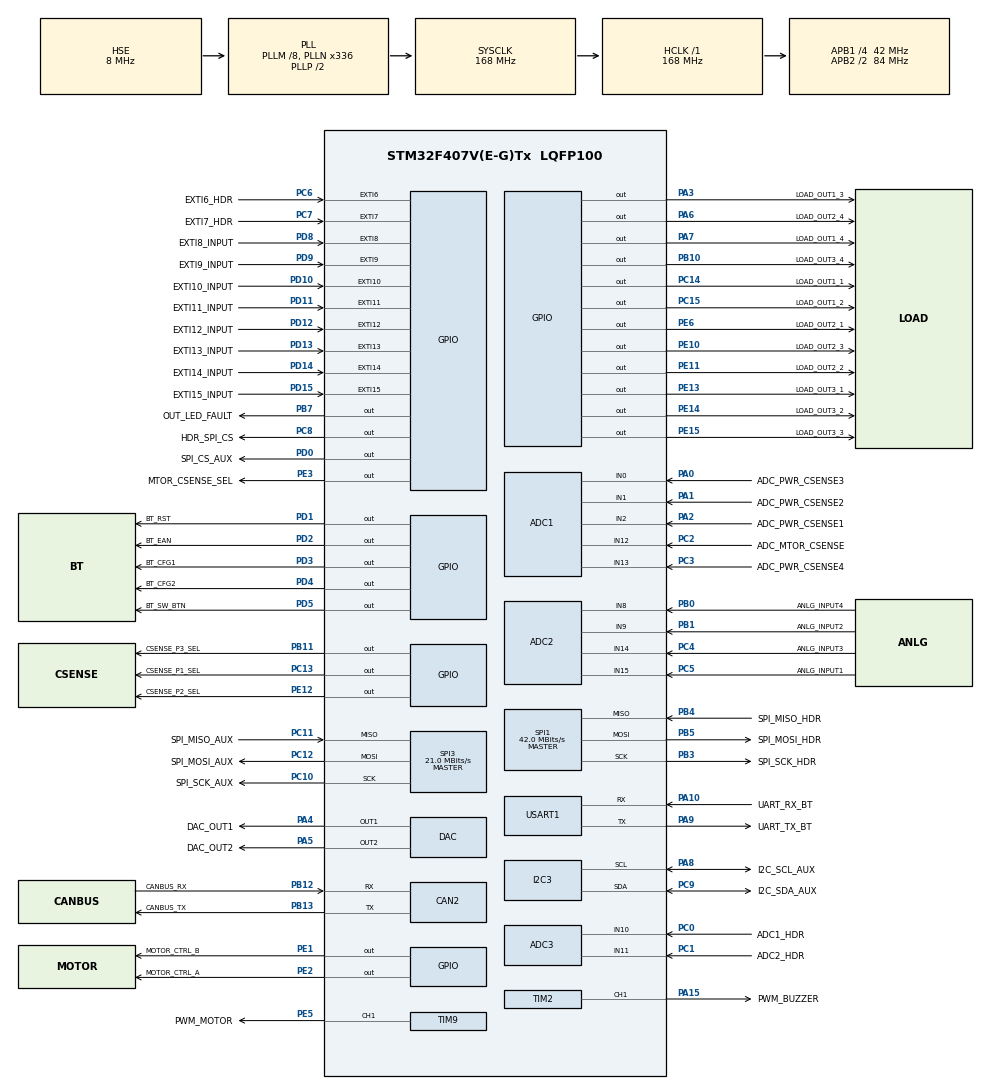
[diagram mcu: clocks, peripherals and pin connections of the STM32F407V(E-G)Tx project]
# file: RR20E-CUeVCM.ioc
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ADC1.Channel-0\#ChannelRegularConversion=ADC_CHANNEL_2
ADC1.Channel-1\#ChannelRegularConversion=ADC_CHANNEL_1
ADC1.Channel-2\#ChannelRegularConversion=ADC_CHANNEL_0
ADC1.Channel-3\#ChannelRegularConversion=ADC_CHANNEL_13
ADC1.Channel-4\#ChannelRegularConversion=ADC_CHANNEL_12
ADC1.ClockPrescaler=ADC_CLOCK_SYNC_PCLK_DIV6
ADC1.ContinuousConvMode=DISABLE
ADC1.DMAContinuousRequests=ENABLE
ADC1.DiscontinuousConvMode=DISABLE
ADC1.EOCSelection=ADC_EOC_SEQ_CONV
ADC1.NbrOfConversion=5
ADC1.NbrOfConversionFlag=1
ADC1.Rank-0\#ChannelRegularConversion=1
ADC1.Rank-1\#ChannelRegularConversion=2
ADC1.Rank-2\#ChannelRegularConversion=3
ADC1.Rank-3\#ChannelRegularConversion=4
ADC1.Rank-4\#ChannelRegularConversion=5
ADC1.SamplingTime-0\#ChannelRegularConversion=ADC_SAMPLETIME_480CYCLES
ADC1.SamplingTime-1\#ChannelRegularConversion=ADC_SAMPLETIME_480CYCLES
ADC1.SamplingTime-2\#ChannelRegularConversion=ADC_SAMPLETIME_480CYCLES
ADC1.SamplingTime-3\#ChannelRegularConversion=ADC_SAMPLETIME_480CYCLES
ADC1.SamplingTime-4\#ChannelRegularConversion=ADC_SAMPLETIME_480CYCLES
ADC1.master=1
ADC2.Channel-1\#ChannelRegularConversion=ADC_CHANNEL_15
ADC2.Channel-2\#ChannelRegularConversion=ADC_CHANNEL_9
ADC2.Channel-3\#ChannelRegularConversion=ADC_CHANNEL_14
ADC2.Channel-4\#ChannelRegularConversion=ADC_CHANNEL_8
ADC2.ClockPrescaler=ADC_CLOCK_SYNC_PCLK_DIV6
ADC2.ContinuousConvMode=ENABLE
ADC2.DMAContinuousRequests=ENABLE
ADC2.EOCSelection=ADC_EOC_SEQ_CONV
ADC2.NbrOfConversion=4
ADC2.NbrOfConversionFlag=1
ADC2.Rank-1\#ChannelRegularConversion=1
ADC2.Rank-2\#ChannelRegularConversion=2
ADC2.Rank-3\#ChannelRegularConversion=3
ADC2.Rank-4\#ChannelRegularConversion=4
ADC2.SamplingTime-1\#ChannelRegularConversion=ADC_SAMPLETIME_480CYCLES
ADC2.SamplingTime-2\#ChannelRegularConversion=ADC_SAMPLETIME_480CYCLES
ADC2.SamplingTime-3\#ChannelRegularConversion=ADC_SAMPLETIME_480CYCLES
ADC2.SamplingTime-4\#ChannelRegularConversion=ADC_SAMPLETIME_480CYCLES
ADC3.Channel-3\#ChannelRegularConversion=ADC_CHANNEL_10
ADC3.ClockPrescaler=ADC_CLOCK_SYNC_PCLK_DIV6
ADC3.NbrOfConversionFlag=1
ADC3.Rank-3\#ChannelRegularConversion=1
ADC3.SamplingTime-3\#ChannelRegularConversion=ADC_SAMPLETIME_3CYCLES
CAN2.BS1=CAN_BS1_1TQ
CAN2.BS2=CAN_BS2_1TQ
CAN2.CalculateTimeQuantum=380.95238095238096
Dma.ADC1.1.Direction=DMA_PERIPH_TO_MEMORY
Dma.ADC1.1.FIFOMode=DMA_FIFOMODE_DISABLE
Dma.ADC1.1.Instance=DMA2_Stream0
Dma.ADC1.1.MemDataAlignment=DMA_MDATAALIGN_WORD
Dma.ADC1.1.MemInc=DMA_MINC_ENABLE
Dma.ADC1.1.Mode=DMA_CIRCULAR
Dma.ADC1.1.PeriphDataAlignment=DMA_PDATAALIGN_WORD
Dma.ADC1.1.PeriphInc=DMA_PINC_DISABLE
Dma.ADC1.1.Priority=DMA_PRIORITY_LOW
Dma.ADC2.0.Direction=DMA_PERIPH_TO_MEMORY
Dma.ADC2.0.FIFOMode=DMA_FIFOMODE_DISABLE
Dma.ADC2.0.Instance=DMA2_Stream2
Dma.ADC2.0.MemDataAlignment=DMA_MDATAALIGN_WORD
Dma.ADC2.0.MemInc=DMA_MINC_ENABLE
Dma.ADC2.0.Mode=DMA_CIRCULAR
Dma.ADC2.0.PeriphDataAlignment=DMA_PDATAALIGN_WORD
Dma.ADC2.0.PeriphInc=DMA_PINC_DISABLE
Dma.ADC2.0.Priority=DMA_PRIORITY_LOW
Dma.Request0=ADC2
Dma.Request1=ADC1
Mcu.Family=STM32F4
Mcu.Name=STM32F407V(E-G)Tx
Mcu.Package=LQFP100
NVIC.ADC_IRQn=true\:0\:0\:false\:false\:true\:true\:true
NVIC.DMA2_Stream0_IRQn=true\:0\:0\:false\:false\:true\:false\:true
NVIC.DMA2_Stream2_IRQn=true\:0\:0\:false\:false\:true\:false\:true
NVIC.EXTI15_10_IRQn=true\:0\:0\:false\:false\:true\:true\:true
NVIC.EXTI9_5_IRQn=true\:0\:0\:false\:false\:true\:true\:true
NVIC.PriorityGroup=NVIC_PRIORITYGROUP_4
NVIC.TIM7_IRQn=true\:0\:0\:false\:false\:true\:true\:true
NVIC.USART1_IRQn=true\:0\:0\:false\:false\:true\:true\:true
PA0-WKUP.GPIO_Label=ADC_PWR_CSENSE3
PA0-WKUP.Signal=ADCx_IN0
PA1.GPIO_Label=ADC_PWR_CSENSE2
PA1.Signal=ADCx_IN1
PA10.GPIO_Label=UART_RX_BT
PA10.Mode=Asynchronous
PA10.Signal=USART1_RX
PA15.GPIO_Label=PWM_BUZZER
PA15.Signal=S_TIM2_CH1_ETR
PA2.GPIO_Label=ADC_PWR_CSENSE1
PA2.Signal=ADCx_IN2
PA3.GPIO_Label=LOAD_OUT1_3
PA3.Signal=GPIO_Output
PA4.GPIO_Label=DAC_OUT1
PA4.Signal=COMP_DAC1_group
PA5.GPIO_Label=DAC_OUT2
PA5.Signal=COMP_DAC2_group
PA6.GPIO_Label=LOAD_OUT2_4
PA6.Signal=GPIO_Output
PA7.GPIO_Label=LOAD_OUT1_4
PA7.Signal=GPIO_Output
PA8.GPIO_Label=I2C_SCL_AUX
PA8.Mode=I2C
PA8.Signal=I2C3_SCL
PA9.GPIO_Label=UART_TX_BT
PA9.Mode=Asynchronous
PA9.Signal=USART1_TX
PB0.GPIO_Label=ANLG_INPUT4
PB0.Signal=ADCx_IN8
PB1.GPIO_Label=ANLG_INPUT2
PB1.Signal=ADCx_IN9
PB10.GPIO_Label=LOAD_OUT3_4
PB10.Signal=GPIO_Output
PB11.GPIO_Label=CSENSE_P3_SEL
PB11.Signal=GPIO_Output
PB12.GPIO_Label=CANBUS_RX
PB12.Mode=Slave
PB12.Signal=CAN2_RX
PB13.GPIO_Label=CANBUS_TX
PB13.Mode=Slave
PB13.Signal=CAN2_TX
PB3.GPIO_Label=SPI_SCK_HDR
PB3.Mode=Full_Duplex_Master
PB3.Signal=SPI1_SCK
PB4.GPIO_Label=SPI_MISO_HDR
PB4.Mode=Full_Duplex_Master
PB4.Signal=SPI1_MISO
PB5.GPIO_Label=SPI_MOSI_HDR
PB5.Mode=Full_Duplex_Master
PB5.Signal=SPI1_MOSI
PB7.GPIO_Label=OUT_LED_FAULT
PB7.Signal=GPIO_Output
PC0.GPIO_Label=ADC1_HDR
PC0.Signal=ADCx_IN10
PC1.GPIO_Label=ADC2_HDR
PC1.Signal=ADCx_IN11
PC10.GPIO_Label=SPI_SCK_AUX
PC10.Mode=Full_Duplex_Master
PC10.Signal=SPI3_SCK
PC11.GPIO_Label=SPI_MISO_AUX
PC11.Mode=Full_Duplex_Master
PC11.Signal=SPI3_MISO
PC12.GPIO_Label=SPI_MOSI_AUX
PC12.Mode=Full_Duplex_Master
PC12.Signal=SPI3_MOSI
PC13-ANTI_TAMP.GPIO_Label=CSENSE_P1_SEL
PC13-ANTI_TAMP.Signal=GPIO_Output
PC14-OSC32_IN.GPIO_Label=LOAD_OUT1_1
PC14-OSC32_IN.Signal=GPIO_Output
PC15-OSC32_OUT.GPIO_Label=LOAD_OUT1_2
PC15-OSC32_OUT.Signal=GPIO_Output
PC2.GPIO_Label=ADC_MTOR_CSENSE
PC2.Signal=ADCx_IN12
PC3.GPIO_Label=ADC_PWR_CSENSE4
PC3.Signal=ADCx_IN13
PC4.GPIO_Label=ANLG_INPUT3
PC4.Signal=ADCx_IN14
PC5.GPIO_Label=ANLG_INPUT1
PC5.Signal=ADCx_IN15
PC6.GPIO_Label=EXTI6_HDR
PC6.Signal=GPXTI6
PC7.GPIO_Label=EXTI7_HDR
PC7.Signal=GPXTI7
PC8.GPIO_Label=HDR_SPI_CS
PC8.Signal=GPIO_Output
PC9.GPIO_Label=I2C_SDA_AUX
PC9.Mode=I2C
PC9.Signal=I2C3_SDA
PD0.GPIO_Label=SPI_CS_AUX
PD0.Signal=GPIO_Output
PD1.GPIO_Label=BT_RST
PD1.Signal=GPIO_Output
PD10.GPIO_Label=EXTI10_INPUT
PD10.Signal=GPXTI10
PD11.GPIO_Label=EXTI11_INPUT
PD11.Signal=GPXTI11
PD12.GPIO_Label=EXTI12_INPUT
PD12.Signal=GPXTI12
PD13.GPIO_Label=EXTI13_INPUT
PD13.Signal=GPXTI13
PD14.GPIO_Label=EXTI14_INPUT
PD14.Signal=GPXTI14
PD15.GPIO_Label=EXTI15_INPUT
PD15.Signal=GPXTI15
PD2.GPIO_Label=BT_EAN
PD2.Signal=GPIO_Output
PD3.GPIO_Label=BT_CFG1
PD3.Signal=GPIO_Output
PD4.GPIO_Label=BT_CFG2
PD4.Signal=GPIO_Output
PD5.GPIO_Label=BT_SW_BTN
PD5.Signal=GPIO_Output
PD8.GPIO_Label=EXTI8_INPUT
PD8.Signal=GPXTI8
PD9.GPIO_Label=EXTI9_INPUT
PD9.Signal=GPXTI9
PE1.GPIO_Label=MOTOR_CTRL_B
PE1.Signal=GPIO_Output
PE10.GPIO_Label=LOAD_OUT2_3
PE10.Signal=GPIO_Output
PE11.GPIO_Label=LOAD_OUT2_2
PE11.Signal=GPIO_Output
PE12.GPIO_Label=CSENSE_P2_SEL
PE12.Signal=GPIO_Output
PE13.GPIO_Label=LOAD_OUT3_1
PE13.Signal=GPIO_Output
PE14.GPIO_Label=LOAD_OUT3_2
PE14.Signal=GPIO_Output
PE15.GPIO_Label=LOAD_OUT3_3
PE15.Signal=GPIO_Output
PE2.GPIO_Label=MOTOR_CTRL_A
PE2.Signal=GPIO_Output
PE3.GPIO_Label=MTOR_CSENSE_SEL
PE3.Signal=GPIO_Output
PE5.GPIO_Label=PWM_MOTOR
PE5.Signal=S_TIM9_CH1
PE6.GPIO_Label=LOAD_OUT2_1
PE6.Signal=GPIO_Output
PH0-OSC_IN.Mode=HSE-External-Oscillator
PH0-OSC_IN.Signal=RCC_OSC_IN
PH1-OSC_OUT.Mode=HSE-External-Oscillator
PH1-OSC_OUT.Signal=RCC_OSC_OUT
ProjectManager.HeapSize=0x200
ProjectManager.StackSize=0x400
ProjectManager.TargetToolchain=SW4STM32
RCC.48MHZClocksFreq_Value=84000000
RCC.AHBFreq_Value=168000000
RCC.APB1CLKDivider=RCC_HCLK_DIV4
RCC.APB1Freq_Value=42000000
RCC.APB1TimFreq_Value=84000000
RCC.APB2CLKDivider=RCC_HCLK_DIV2
RCC.APB2Freq_Value=84000000
RCC.APB2TimFreq_Value=168000000
RCC.CortexFreq_Value=168000000
RCC.HCLKFreq_Value=168000000
RCC.HSE_VALUE=8000000
RCC.HSI_VALUE=16000000
RCC.LSE_VALUE=32768
RCC.PLLM=8
RCC.PLLN=336
RCC.PLLSourceVirtual=RCC_PLLSOURCE_HSE
RCC.SYSCLKFreq_VALUE=168000000
RCC.SYSCLKSource=RCC_SYSCLKSOURCE_PLLCLK
RCC.VCOOutputFreq_Value=336000000
SH.ADCx_IN0.0=ADC1_IN0,IN0
SH.ADCx_IN1.0=ADC1_IN1,IN1
SH.ADCx_IN10.0=ADC3_IN10,IN10
SH.ADCx_IN11.0=ADC3_IN11,IN11
SH.ADCx_IN12.0=ADC1_IN12,IN12
SH.ADCx_IN13.0=ADC1_IN13,IN13
SH.ADCx_IN14.0=ADC2_IN14,IN14
SH.ADCx_IN15.0=ADC2_IN15,IN15
SH.ADCx_IN2.0=ADC1_IN2,IN2
SH.ADCx_IN8.0=ADC2_IN8,IN8
SH.ADCx_IN9.0=ADC2_IN9,IN9
SH.COMP_DAC1_group.0=DAC_OUT1,DAC_OUT1
SH.COMP_DAC2_group.0=DAC_OUT2,DAC_OUT2
SH.S_TIM2_CH1_ETR.0=TIM2_CH1,PWM Generation1 CH1
SH.S_TIM9_CH1.0=TIM9_CH1,PWM Generation1 CH1
SPI1.BaudRatePrescaler=SPI_BAUDRATEPRESCALER_2
SPI1.CalculateBaudRate=42.0 MBits/s
SPI1.Direction=SPI_DIRECTION_2LINES
SPI1.Mode=SPI_MODE_MASTER
SPI1.VirtualType=VM_MASTER
SPI3.BaudRatePrescaler=SPI_BAUDRATEPRESCALER_2
SPI3.CalculateBaudRate=21.0 MBits/s
SPI3.Direction=SPI_DIRECTION_2LINES
SPI3.Mode=SPI_MODE_MASTER
SPI3.VirtualType=VM_MASTER
TIM2.Channel-PWM\ Generation1\ CH1=TIM_CHANNEL_1
TIM2.Period=100-1
TIM2.Prescaler=350-1
TIM7.Period=100-1
TIM7.Prescaler=840-1
TIM9.Channel-PWM\ Generation1\ CH1=TIM_CHANNEL_1
TIM9.Period=100-1
TIM9.Prescaler=84-1
USART1.VirtualMode=VM_ASYNC
VP_TIM2_VS_ClockSourceINT.Mode=Internal
VP_TIM7_VS_ClockSourceINT.Mode=Enable_Timer
VP_TIM9_VS_ClockSourceINT.Mode=Internal
board=custom

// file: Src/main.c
/* USER CODE BEGIN Header */
/**
  ******************************************************************************
  * @file           : main.c
  * @brief          : Main program body
  ******************************************************************************
  * @attention
  *
  * <h2><center>&copy; Copyright (c) 2020 STMicroelectronics.
  * All rights reserved.</center></h2>
  *
  * This software component is licensed by ST under BSD 3-Clause license,
  * the "License"; You may not use this file except in compliance with the
  * License. You may obtain a copy of the License at:
  *                        opensource.org/licenses/BSD-3-Clause
  *
  ******************************************************************************
  */
/* USER CODE END Header */

#include "main.h"

/* USER CODE BEGIN Includes */
#include "bsp.h"
#include "scheduler.h"
#include "bm78.h"
#include "vcm.h"
/* USER CODE END Includes */

/* USER CODE BEGIN PD */
#define BLUETOOTH_DEVICE_NAME 	"CUeVCM BT"
#define BLUETOOTH_PAIRING_PIN 	"6969"
/* USER CODE END PD */

ADC_HandleTypeDef hadc1;
ADC_HandleTypeDef hadc2;
ADC_HandleTypeDef hadc3;
DMA_HandleTypeDef hdma_adc1;
DMA_HandleTypeDef hdma_adc2;

CAN_HandleTypeDef hcan2;

DAC_HandleTypeDef hdac;

I2C_HandleTypeDef hi2c3;

SPI_HandleTypeDef hspi1;
SPI_HandleTypeDef hspi3;

TIM_HandleTypeDef htim2;
TIM_HandleTypeDef htim7;
TIM_HandleTypeDef htim9;

UART_HandleTypeDef huart1;

/* USER CODE BEGIN PV */
BSP_INSTANCE_DEF(vcm);
/* USER CODE END PV */

void SystemClock_Config(void);
static void MX_GPIO_Init(void);
static void MX_DMA_Init(void);
static void MX_ADC1_Init(void);
static void MX_ADC2_Init(void);
static void MX_ADC3_Init(void);
static void MX_CAN2_Init(void);
static void MX_DAC_Init(void);
static void MX_I2C3_Init(void);
static void MX_SPI1_Init(void);
static void MX_SPI3_Init(void);
static void MX_TIM2_Init(void);
static void MX_TIM9_Init(void);
static void MX_USART1_UART_Init(void);
static void MX_TIM7_Init(void);
/* USER CODE BEGIN PFP */
extern void initialise_monitor_handles(void);
void app_pin_irq_handler(uint8_t channel, bsp_pin_irq_evt_t evt);
static void blink_led(void * handle);
/* USER CODE END PFP */

int main(void)
{
  /* USER CODE BEGIN 1 */
#ifdef DEBUG
	initialise_monitor_handles();
#endif
	printd("CUeVCM Application Init\n");

  /* USER CODE END 1 */

  /* MCU Configuration--------------------------------------------------------*/

  /* Reset of all peripherals, Initializes the Flash interface and the Systick. */
  HAL_Init();

  /* Configure the system clock */
  SystemClock_Config();

  /* Initialize all configured peripherals */
  MX_GPIO_Init();
  MX_DMA_Init();
  MX_ADC1_Init();
  MX_ADC2_Init();
  MX_ADC3_Init();
  MX_CAN2_Init();
  MX_DAC_Init();
  MX_I2C3_Init();
  MX_SPI1_Init();
  MX_SPI3_Init();
  MX_TIM2_Init();
  MX_TIM9_Init();
  MX_USART1_UART_Init();
  MX_TIM7_Init();
  /* USER CODE BEGIN 2 */

#ifndef DEBUG
  HAL_GPIO_WritePin(DBG_LED_GPIO_Port, DBG_LED_Pin, GPIO_PIN_RESET);
#endif

  // Initialize the scheduler
  scheduler_init(&htim7);

  vcm.tim_buzzer = &htim2;
  vcm.tim_motor = &htim9;
  vcm.adc_anlg_in = &hadc2;
  vcm.adc_csense = &hadc1;
  vcm.dac_anlg_out = &hdac;
  vcm.app_pin_irq_handler = app_pin_irq_handler;
  BSP_init(&vcm);

  // Buzzer startup tone
  BSP_set_buzzer(BUZZER_PITCH_LOW);
  HAL_Delay(250);
  BSP_set_buzzer(BUZZER_PITCH_MED);
  HAL_Delay(250);
  BSP_set_buzzer(BUZZER_PITCH_HIGH);
  HAL_Delay(250);
  BSP_set_buzzer(BUZZER_OFF);

//  BSP_set_load_output(0, HIGH);
//  //BSP_enable_interrupt(0, INTERRUPT_TOGGLE);
//  BSP_set_analog_output(0, 2048);
//  BSP_set_motor_output(MTOR_DIR_FORWARD, 15);

  BT_init(&huart1);

  BT_power_on(MODE_NORMAL);

  BT_enter_setup();
  BT_erase_bonds();
  BT_set_device_name(BLUETOOTH_DEVICE_NAME);
  BT_set_pin(BLUETOOTH_PAIRING_PIN);
  BT_set_pairing_method(PAIR_METHOD_PIN);
  BT_exit_setup();

  VCM_init();

  scheduler_add(blink_led, NULL, 0, 500);
  /* USER CODE END 2 */

  /* Infinite loop */
  /* USER CODE BEGIN WHILE */
  while (1)
  {
	  scheduler_exec();

    /* USER CODE END WHILE */

  }
}

void SystemClock_Config(void)
{
  RCC_OscInitTypeDef RCC_OscInitStruct = {0};
  RCC_ClkInitTypeDef RCC_ClkInitStruct = {0};

  /** Configure the main internal regulator output voltage
  */
  __HAL_RCC_PWR_CLK_ENABLE();
  __HAL_PWR_VOLTAGESCALING_CONFIG(PWR_REGULATOR_VOLTAGE_SCALE1);
  /** Initializes the CPU, AHB and APB busses clocks
  */
  RCC_OscInitStruct.OscillatorType = RCC_OSCILLATORTYPE_HSE;
  RCC_OscInitStruct.HSEState = RCC_HSE_ON;
  RCC_OscInitStruct.PLL.PLLState = RCC_PLL_ON;
  RCC_OscInitStruct.PLL.PLLSource = RCC_PLLSOURCE_HSE;
  RCC_OscInitStruct.PLL.PLLM = 8;
  RCC_OscInitStruct.PLL.PLLN = 336;
  RCC_OscInitStruct.PLL.PLLP = RCC_PLLP_DIV2;
  RCC_OscInitStruct.PLL.PLLQ = 4;
  if (HAL_RCC_OscConfig(&RCC_OscInitStruct) != HAL_OK)
  {
    Error_Handler();
  }
  /** Initializes the CPU, AHB and APB busses clocks
  */
  RCC_ClkInitStruct.ClockType = RCC_CLOCKTYPE_HCLK|RCC_CLOCKTYPE_SYSCLK
                              |RCC_CLOCKTYPE_PCLK1|RCC_CLOCKTYPE_PCLK2;
  RCC_ClkInitStruct.SYSCLKSource = RCC_SYSCLKSOURCE_PLLCLK;
  RCC_ClkInitStruct.AHBCLKDivider = RCC_SYSCLK_DIV1;
  RCC_ClkInitStruct.APB1CLKDivider = RCC_HCLK_DIV4;
  RCC_ClkInitStruct.APB2CLKDivider = RCC_HCLK_DIV2;

  if (HAL_RCC_ClockConfig(&RCC_ClkInitStruct, FLASH_LATENCY_5) != HAL_OK)
  {
    Error_Handler();
  }
}

static void MX_ADC1_Init(void)
{

  ADC_ChannelConfTypeDef sConfig = {0};

  /** Configure the global features of the ADC (Clock, Resolution, Data Alignment and number of conversion)
  */
  hadc1.Instance = ADC1;
  hadc1.Init.ClockPrescaler = ADC_CLOCK_SYNC_PCLK_DIV6;
  hadc1.Init.Resolution = ADC_RESOLUTION_12B;
  hadc1.Init.ScanConvMode = ENABLE;
  hadc1.Init.ContinuousConvMode = DISABLE;
  hadc1.Init.DiscontinuousConvMode = DISABLE;
  hadc1.Init.ExternalTrigConvEdge = ADC_EXTERNALTRIGCONVEDGE_NONE;
  hadc1.Init.ExternalTrigConv = ADC_SOFTWARE_START;
  hadc1.Init.DataAlign = ADC_DATAALIGN_RIGHT;
  hadc1.Init.NbrOfConversion = 5;
  hadc1.Init.DMAContinuousRequests = ENABLE;
  hadc1.Init.EOCSelection = ADC_EOC_SEQ_CONV;
  if (HAL_ADC_Init(&hadc1) != HAL_OK)
  {
    Error_Handler();
  }
  /** Configure for the selected ADC regular channel its corresponding rank in the sequencer and its sample time.
  */
  sConfig.Channel = ADC_CHANNEL_2;
  sConfig.Rank = 1;
  sConfig.SamplingTime = ADC_SAMPLETIME_480CYCLES;
  if (HAL_ADC_ConfigChannel(&hadc1, &sConfig) != HAL_OK)
  {
    Error_Handler();
  }
  /** Configure for the selected ADC regular channel its corresponding rank in the sequencer and its sample time.
  */
  sConfig.Channel = ADC_CHANNEL_1;
  sConfig.Rank = 2;
  if (HAL_ADC_ConfigChannel(&hadc1, &sConfig) != HAL_OK)
  {
    Error_Handler();
  }
  /** Configure for the selected ADC regular channel its corresponding rank in the sequencer and its sample time.
  */
  sConfig.Channel = ADC_CHANNEL_0;
  sConfig.Rank = 3;
  if (HAL_ADC_ConfigChannel(&hadc1, &sConfig) != HAL_OK)
  {
    Error_Handler();
  }
  /** Configure for the selected ADC regular channel its corresponding rank in the sequencer and its sample time.
  */
  sConfig.Channel = ADC_CHANNEL_13;
  sConfig.Rank = 4;
  if (HAL_ADC_ConfigChannel(&hadc1, &sConfig) != HAL_OK)
  {
    Error_Handler();
  }
  /** Configure for the selected ADC regular channel its corresponding rank in the sequencer and its sample time.
  */
  sConfig.Channel = ADC_CHANNEL_12;
  sConfig.Rank = 5;
  if (HAL_ADC_ConfigChannel(&hadc1, &sConfig) != HAL_OK)
  {
    Error_Handler();
  }

}

static void MX_ADC2_Init(void)
{

  ADC_ChannelConfTypeDef sConfig = {0};

  /** Configure the global features of the ADC (Clock, Resolution, Data Alignment and number of conversion)
  */
  hadc2.Instance = ADC2;
  hadc2.Init.ClockPrescaler = ADC_CLOCK_SYNC_PCLK_DIV6;
  hadc2.Init.Resolution = ADC_RESOLUTION_12B;
  hadc2.Init.ScanConvMode = ENABLE;
  hadc2.Init.ContinuousConvMode = ENABLE;
  hadc2.Init.DiscontinuousConvMode = DISABLE;
  hadc2.Init.ExternalTrigConvEdge = ADC_EXTERNALTRIGCONVEDGE_NONE;
  hadc2.Init.ExternalTrigConv = ADC_SOFTWARE_START;
  hadc2.Init.DataAlign = ADC_DATAALIGN_RIGHT;
  hadc2.Init.NbrOfConversion = 4;
  hadc2.Init.DMAContinuousRequests = ENABLE;
  hadc2.Init.EOCSelection = ADC_EOC_SEQ_CONV;
  if (HAL_ADC_Init(&hadc2) != HAL_OK)
  {
    Error_Handler();
  }
  /** Configure for the selected ADC regular channel its corresponding rank in the sequencer and its sample time.
  */
  sConfig.Channel = ADC_CHANNEL_15;
  sConfig.Rank = 1;
  sConfig.SamplingTime = ADC_SAMPLETIME_480CYCLES;
  if (HAL_ADC_ConfigChannel(&hadc2, &sConfig) != HAL_OK)
  {
    Error_Handler();
  }
  /** Configure for the selected ADC regular channel its corresponding rank in the sequencer and its sample time.
  */
  sConfig.Channel = ADC_CHANNEL_9;
  sConfig.Rank = 2;
  if (HAL_ADC_ConfigChannel(&hadc2, &sConfig) != HAL_OK)
  {
    Error_Handler();
  }
  /** Configure for the selected ADC regular channel its corresponding rank in the sequencer and its sample time.
  */
  sConfig.Channel = ADC_CHANNEL_14;
  sConfig.Rank = 3;
  if (HAL_ADC_ConfigChannel(&hadc2, &sConfig) != HAL_OK)
  {
    Error_Handler();
  }
  /** Configure for the selected ADC regular channel its corresponding rank in the sequencer and its sample time.
  */
  sConfig.Channel = ADC_CHANNEL_8;
  sConfig.Rank = 4;
  if (HAL_ADC_ConfigChannel(&hadc2, &sConfig) != HAL_OK)
  {
    Error_Handler();
  }

}

static void MX_ADC3_Init(void)
{

  ADC_ChannelConfTypeDef sConfig = {0};

  /** Configure the global features of the ADC (Clock, Resolution, Data Alignment and number of conversion)
  */
  hadc3.Instance = ADC3;
  hadc3.Init.ClockPrescaler = ADC_CLOCK_SYNC_PCLK_DIV6;
  hadc3.Init.Resolution = ADC_RESOLUTION_12B;
  hadc3.Init.ScanConvMode = DISABLE;
  hadc3.Init.ContinuousConvMode = DISABLE;
  hadc3.Init.DiscontinuousConvMode = DISABLE;
  hadc3.Init.ExternalTrigConvEdge = ADC_EXTERNALTRIGCONVEDGE_NONE;
  hadc3.Init.ExternalTrigConv = ADC_SOFTWARE_START;
  hadc3.Init.DataAlign = ADC_DATAALIGN_RIGHT;
  hadc3.Init.NbrOfConversion = 1;
  hadc3.Init.DMAContinuousRequests = DISABLE;
  hadc3.Init.EOCSelection = ADC_EOC_SINGLE_CONV;
  if (HAL_ADC_Init(&hadc3) != HAL_OK)
  {
    Error_Handler();
  }
  /** Configure for the selected ADC regular channel its corresponding rank in the sequencer and its sample time.
  */
  sConfig.Channel = ADC_CHANNEL_10;
  sConfig.Rank = 1;
  sConfig.SamplingTime = ADC_SAMPLETIME_3CYCLES;
  if (HAL_ADC_ConfigChannel(&hadc3, &sConfig) != HAL_OK)
  {
    Error_Handler();
  }

}

static void MX_CAN2_Init(void)
{

  hcan2.Instance = CAN2;
  hcan2.Init.Prescaler = 16;
  hcan2.Init.Mode = CAN_MODE_NORMAL;
  hcan2.Init.SyncJumpWidth = CAN_SJW_1TQ;
  hcan2.Init.TimeSeg1 = CAN_BS1_1TQ;
  hcan2.Init.TimeSeg2 = CAN_BS2_1TQ;
  hcan2.Init.TimeTriggeredMode = DISABLE;
  hcan2.Init.AutoBusOff = DISABLE;
  hcan2.Init.AutoWakeUp = DISABLE;
  hcan2.Init.AutoRetransmission = DISABLE;
  hcan2.Init.ReceiveFifoLocked = DISABLE;
  hcan2.Init.TransmitFifoPriority = DISABLE;
  if (HAL_CAN_Init(&hcan2) != HAL_OK)
  {
    Error_Handler();
  }

}

static void MX_DAC_Init(void)
{

  DAC_ChannelConfTypeDef sConfig = {0};

  /** DAC Initialization
  */
  hdac.Instance = DAC;
  if (HAL_DAC_Init(&hdac) != HAL_OK)
  {
    Error_Handler();
  }
  /** DAC channel OUT1 config
  */
  sConfig.DAC_Trigger = DAC_TRIGGER_NONE;
  sConfig.DAC_OutputBuffer = DAC_OUTPUTBUFFER_ENABLE;
  if (HAL_DAC_ConfigChannel(&hdac, &sConfig, DAC_CHANNEL_1) != HAL_OK)
  {
    Error_Handler();
  }
  /** DAC channel OUT2 config
  */
  if (HAL_DAC_ConfigChannel(&hdac, &sConfig, DAC_CHANNEL_2) != HAL_OK)
  {
    Error_Handler();
  }

}

static void MX_I2C3_Init(void)
{

  hi2c3.Instance = I2C3;
  hi2c3.Init.ClockSpeed = 100000;
  hi2c3.Init.DutyCycle = I2C_DUTYCYCLE_2;
  hi2c3.Init.OwnAddress1 = 0;
  hi2c3.Init.AddressingMode = I2C_ADDRESSINGMODE_7BIT;
  hi2c3.Init.DualAddressMode = I2C_DUALADDRESS_DISABLE;
  hi2c3.Init.OwnAddress2 = 0;
  hi2c3.Init.GeneralCallMode = I2C_GENERALCALL_DISABLE;
  hi2c3.Init.NoStretchMode = I2C_NOSTRETCH_DISABLE;
  if (HAL_I2C_Init(&hi2c3) != HAL_OK)
  {
    Error_Handler();
  }

}

static void MX_SPI1_Init(void)
{

  /* SPI1 parameter configuration*/
  hspi1.Instance = SPI1;
  hspi1.Init.Mode = SPI_MODE_MASTER;
  hspi1.Init.Direction = SPI_DIRECTION_2LINES;
  hspi1.Init.DataSize = SPI_DATASIZE_8BIT;
  hspi1.Init.CLKPolarity = SPI_POLARITY_LOW;
  hspi1.Init.CLKPhase = SPI_PHASE_1EDGE;
  hspi1.Init.NSS = SPI_NSS_SOFT;
  hspi1.Init.BaudRatePrescaler = SPI_BAUDRATEPRESCALER_2;
  hspi1.Init.FirstBit = SPI_FIRSTBIT_MSB;
  hspi1.Init.TIMode = SPI_TIMODE_DISABLE;
  hspi1.Init.CRCCalculation = SPI_CRCCALCULATION_DISABLE;
  hspi1.Init.CRCPolynomial = 10;
  if (HAL_SPI_Init(&hspi1) != HAL_OK)
  {
    Error_Handler();
  }

}

static void MX_SPI3_Init(void)
{

  /* SPI3 parameter configuration*/
  hspi3.Instance = SPI3;
  hspi3.Init.Mode = SPI_MODE_MASTER;
  hspi3.Init.Direction = SPI_DIRECTION_2LINES;
  hspi3.Init.DataSize = SPI_DATASIZE_8BIT;
  hspi3.Init.CLKPolarity = SPI_POLARITY_LOW;
  hspi3.Init.CLKPhase = SPI_PHASE_1EDGE;
  hspi3.Init.NSS = SPI_NSS_SOFT;
  hspi3.Init.BaudRatePrescaler = SPI_BAUDRATEPRESCALER_2;
  hspi3.Init.FirstBit = SPI_FIRSTBIT_MSB;
  hspi3.Init.TIMode = SPI_TIMODE_DISABLE;
  hspi3.Init.CRCCalculation = SPI_CRCCALCULATION_DISABLE;
  hspi3.Init.CRCPolynomial = 10;
  if (HAL_SPI_Init(&hspi3) != HAL_OK)
  {
    Error_Handler();
  }

}

static void MX_TIM2_Init(void)
{

  TIM_ClockConfigTypeDef sClockSourceConfig = {0};
  TIM_MasterConfigTypeDef sMasterConfig = {0};
  TIM_OC_InitTypeDef sConfigOC = {0};

  htim2.Instance = TIM2;
  htim2.Init.Prescaler = 350-1;
  htim2.Init.CounterMode = TIM_COUNTERMODE_UP;
  htim2.Init.Period = 100-1;
  htim2.Init.ClockDivision = TIM_CLOCKDIVISION_DIV1;
  htim2.Init.AutoReloadPreload = TIM_AUTORELOAD_PRELOAD_DISABLE;
  if (HAL_TIM_Base_Init(&htim2) != HAL_OK)
  {
    Error_Handler();
  }
  sClockSourceConfig.ClockSource = TIM_CLOCKSOURCE_INTERNAL;
  if (HAL_TIM_ConfigClockSource(&htim2, &sClockSourceConfig) != HAL_OK)
  {
    Error_Handler();
  }
  if (HAL_TIM_PWM_Init(&htim2) != HAL_OK)
  {
    Error_Handler();
  }
  sMasterConfig.MasterOutputTrigger = TIM_TRGO_RESET;
  sMasterConfig.MasterSlaveMode = TIM_MASTERSLAVEMODE_DISABLE;
  if (HAL_TIMEx_MasterConfigSynchronization(&htim2, &sMasterConfig) != HAL_OK)
  {
    Error_Handler();
  }
  sConfigOC.OCMode = TIM_OCMODE_PWM1;
  sConfigOC.Pulse = 0;
  sConfigOC.OCPolarity = TIM_OCPOLARITY_HIGH;
  sConfigOC.OCFastMode = TIM_OCFAST_DISABLE;
  if (HAL_TIM_PWM_ConfigChannel(&htim2, &sConfigOC, TIM_CHANNEL_1) != HAL_OK)
  {
    Error_Handler();
  }
  HAL_TIM_MspPostInit(&htim2);

}

static void MX_TIM7_Init(void)
{

  TIM_MasterConfigTypeDef sMasterConfig = {0};

  htim7.Instance = TIM7;
  htim7.Init.Prescaler = 840-1;
  htim7.Init.CounterMode = TIM_COUNTERMODE_UP;
  htim7.Init.Period = 100-1;
  htim7.Init.AutoReloadPreload = TIM_AUTORELOAD_PRELOAD_DISABLE;
  if (HAL_TIM_Base_Init(&htim7) != HAL_OK)
  {
    Error_Handler();
  }
  sMasterConfig.MasterOutputTrigger = TIM_TRGO_RESET;
  sMasterConfig.MasterSlaveMode = TIM_MASTERSLAVEMODE_DISABLE;
  if (HAL_TIMEx_MasterConfigSynchronization(&htim7, &sMasterConfig) != HAL_OK)
  {
    Error_Handler();
  }

}

static void MX_TIM9_Init(void)
{

  TIM_ClockConfigTypeDef sClockSourceConfig = {0};
  TIM_OC_InitTypeDef sConfigOC = {0};

  htim9.Instance = TIM9;
  htim9.Init.Prescaler = 84-1;
  htim9.Init.CounterMode = TIM_COUNTERMODE_UP;
  htim9.Init.Period = 100-1;
  htim9.Init.ClockDivision = TIM_CLOCKDIVISION_DIV1;
  htim9.Init.AutoReloadPreload = TIM_AUTORELOAD_PRELOAD_DISABLE;
  if (HAL_TIM_Base_Init(&htim9) != HAL_OK)
  {
    Error_Handler();
  }
  sClockSourceConfig.ClockSource = TIM_CLOCKSOURCE_INTERNAL;
  if (HAL_TIM_ConfigClockSource(&htim9, &sClockSourceConfig) != HAL_OK)
  {
    Error_Handler();
  }
  if (HAL_TIM_PWM_Init(&htim9) != HAL_OK)
  {
    Error_Handler();
  }
  sConfigOC.OCMode = TIM_OCMODE_PWM1;
  sConfigOC.Pulse = 0;
  sConfigOC.OCPolarity = TIM_OCPOLARITY_HIGH;
  sConfigOC.OCFastMode = TIM_OCFAST_DISABLE;
  if (HAL_TIM_PWM_ConfigChannel(&htim9, &sConfigOC, TIM_CHANNEL_1) != HAL_OK)
  {
    Error_Handler();
  }
  HAL_TIM_MspPostInit(&htim9);

}

static void MX_USART1_UART_Init(void)
{

  huart1.Instance = USART1;
  huart1.Init.BaudRate = 115200;
  huart1.Init.WordLength = UART_WORDLENGTH_8B;
  huart1.Init.StopBits = UART_STOPBITS_1;
  huart1.Init.Parity = UART_PARITY_NONE;
  huart1.Init.Mode = UART_MODE_TX_RX;
  huart1.Init.HwFlowCtl = UART_HWCONTROL_NONE;
  huart1.Init.OverSampling = UART_OVERSAMPLING_16;
  if (HAL_UART_Init(&huart1) != HAL_OK)
  {
    Error_Handler();
  }

}

static void MX_DMA_Init(void)
{

  /* DMA controller clock enable */
  __HAL_RCC_DMA2_CLK_ENABLE();

  /* DMA interrupt init */
  /* DMA2_Stream0_IRQn interrupt configuration */
  HAL_NVIC_SetPriority(DMA2_Stream0_IRQn, 0, 0);
  HAL_NVIC_EnableIRQ(DMA2_Stream0_IRQn);
  /* DMA2_Stream2_IRQn interrupt configuration */
  HAL_NVIC_SetPriority(DMA2_Stream2_IRQn, 0, 0);
  HAL_NVIC_EnableIRQ(DMA2_Stream2_IRQn);

}

static void MX_GPIO_Init(void)
{
  GPIO_InitTypeDef GPIO_InitStruct = {0};

  /* GPIO Ports Clock Enable */
  __HAL_RCC_GPIOE_CLK_ENABLE();
  __HAL_RCC_GPIOC_CLK_ENABLE();
  __HAL_RCC_GPIOH_CLK_ENABLE();
  __HAL_RCC_GPIOA_CLK_ENABLE();
  __HAL_RCC_GPIOB_CLK_ENABLE();
  __HAL_RCC_GPIOD_CLK_ENABLE();

  /*Configure GPIO pin Output Level */
  HAL_GPIO_WritePin(GPIOE, MOTOR_CTRL_A_Pin|MTOR_CSENSE_SEL_Pin|LOAD_OUT2_1_Pin|LOAD_OUT2_3_Pin
                          |LOAD_OUT2_2_Pin|CSENSE_P2_SEL_Pin|LOAD_OUT3_1_Pin|LOAD_OUT3_2_Pin
                          |LOAD_OUT3_3_Pin|MOTOR_CTRL_B_Pin, GPIO_PIN_RESET);

  /*Configure GPIO pin Output Level */
  HAL_GPIO_WritePin(GPIOC, CSENSE_P1_SEL_Pin|LOAD_OUT1_1_Pin|LOAD_OUT1_2_Pin|HDR_SPI_CS_Pin, GPIO_PIN_RESET);

  /*Configure GPIO pin Output Level */
  HAL_GPIO_WritePin(GPIOA, LOAD_OUT1_3_Pin|LOAD_OUT2_4_Pin|LOAD_OUT1_4_Pin, GPIO_PIN_RESET);

  /*Configure GPIO pin Output Level */
  HAL_GPIO_WritePin(GPIOB, LOAD_OUT3_4_Pin|CSENSE_P3_SEL_Pin|OUT_LED_FAULT_Pin, GPIO_PIN_RESET);

  /*Configure GPIO pin Output Level */
  HAL_GPIO_WritePin(GPIOD, SPI_CS_AUX_Pin|BT_RST_Pin|BT_EAN_Pin|BT_CFG1_Pin
                          |BT_CFG2_Pin|BT_SW_BTN_Pin, GPIO_PIN_RESET);

  /*Configure GPIO pins : MOTOR_CTRL_A_Pin MTOR_CSENSE_SEL_Pin LOAD_OUT2_1_Pin LOAD_OUT2_3_Pin
                           LOAD_OUT2_2_Pin CSENSE_P2_SEL_Pin LOAD_OUT3_1_Pin LOAD_OUT3_2_Pin
                           LOAD_OUT3_3_Pin MOTOR_CTRL_B_Pin */
  GPIO_InitStruct.Pin = MOTOR_CTRL_A_Pin|MTOR_CSENSE_SEL_Pin|LOAD_OUT2_1_Pin|LOAD_OUT2_3_Pin
                          |LOAD_OUT2_2_Pin|CSENSE_P2_SEL_Pin|LOAD_OUT3_1_Pin|LOAD_OUT3_2_Pin
                          |LOAD_OUT3_3_Pin|MOTOR_CTRL_B_Pin;
  GPIO_InitStruct.Mode = GPIO_MODE_OUTPUT_PP;
  GPIO_InitStruct.Pull = GPIO_NOPULL;
  GPIO_InitStruct.Speed = GPIO_SPEED_FREQ_LOW;
  HAL_GPIO_Init(GPIOE, &GPIO_InitStruct);

  /*Configure GPIO pins : CSENSE_P1_SEL_Pin LOAD_OUT1_1_Pin LOAD_OUT1_2_Pin HDR_SPI_CS_Pin */
  GPIO_InitStruct.Pin = CSENSE_P1_SEL_Pin|LOAD_OUT1_1_Pin|LOAD_OUT1_2_Pin|HDR_SPI_CS_Pin;
  GPIO_InitStruct.Mode = GPIO_MODE_OUTPUT_PP;
  GPIO_InitStruct.Pull = GPIO_NOPULL;
  GPIO_InitStruct.Speed = GPIO_SPEED_FREQ_LOW;
  HAL_GPIO_Init(GPIOC, &GPIO_InitStruct);

  /*Configure GPIO pins : LOAD_OUT1_3_Pin LOAD_OUT2_4_Pin LOAD_OUT1_4_Pin */
  GPIO_InitStruct.Pin = LOAD_OUT1_3_Pin|LOAD_OUT2_4_Pin|LOAD_OUT1_4_Pin;
#ifndef DEBUG
  GPIO_InitStruct.Pin |= DBG_LED_Pin;
#endif
  GPIO_InitStruct.Mode = GPIO_MODE_OUTPUT_PP;
  GPIO_InitStruct.Pull = GPIO_NOPULL;
  GPIO_InitStruct.Speed = GPIO_SPEED_FREQ_LOW;
  HAL_GPIO_Init(GPIOA, &GPIO_InitStruct);

  /*Configure GPIO pins : LOAD_OUT3_4_Pin CSENSE_P3_SEL_Pin OUT_LED_FAULT_Pin */
  GPIO_InitStruct.Pin = LOAD_OUT3_4_Pin|CSENSE_P3_SEL_Pin|OUT_LED_FAULT_Pin;
  GPIO_InitStruct.Mode = GPIO_MODE_OUTPUT_PP;
  GPIO_InitStruct.Pull = GPIO_NOPULL;
  GPIO_InitStruct.Speed = GPIO_SPEED_FREQ_LOW;
  HAL_GPIO_Init(GPIOB, &GPIO_InitStruct);

  /*Configure GPIO pins : EXTI8_INPUT_Pin EXTI9_INPUT_Pin EXTI10_INPUT_Pin EXTI11_INPUT_Pin
                           EXTI12_INPUT_Pin EXTI13_INPUT_Pin EXTI14_INPUT_Pin EXTI15_INPUT_Pin */
  GPIO_InitStruct.Pin = EXTI8_INPUT_Pin|EXTI9_INPUT_Pin|EXTI10_INPUT_Pin|EXTI11_INPUT_Pin
                          |EXTI12_INPUT_Pin|EXTI13_INPUT_Pin|EXTI14_INPUT_Pin|EXTI15_INPUT_Pin;
  GPIO_InitStruct.Mode = GPIO_MODE_IT_RISING;
  GPIO_InitStruct.Pull = GPIO_NOPULL;
  HAL_GPIO_Init(GPIOD, &GPIO_InitStruct);

  /*Configure GPIO pins : EXTI6_HDR_Pin EXTI7_HDR_Pin */
  GPIO_InitStruct.Pin = EXTI6_HDR_Pin|EXTI7_HDR_Pin;
  GPIO_InitStruct.Mode = GPIO_MODE_IT_RISING;
  GPIO_InitStruct.Pull = GPIO_NOPULL;
  HAL_GPIO_Init(GPIOC, &GPIO_InitStruct);

  /*Configure GPIO pins : SPI_CS_AUX_Pin BT_RST_Pin BT_EAN_Pin BT_CFG1_Pin
                           BT_CFG2_Pin BT_SW_BTN_Pin */
  GPIO_InitStruct.Pin = SPI_CS_AUX_Pin|BT_RST_Pin|BT_EAN_Pin|BT_CFG1_Pin
                          |BT_CFG2_Pin|BT_SW_BTN_Pin;
  GPIO_InitStruct.Mode = GPIO_MODE_OUTPUT_PP;
  GPIO_InitStruct.Pull = GPIO_NOPULL;
  GPIO_InitStruct.Speed = GPIO_SPEED_FREQ_LOW;
  HAL_GPIO_Init(GPIOD, &GPIO_InitStruct);

  /* EXTI interrupt init*/
  HAL_NVIC_SetPriority(EXTI9_5_IRQn, 0, 0);
  HAL_NVIC_EnableIRQ(EXTI9_5_IRQn);

  HAL_NVIC_SetPriority(EXTI15_10_IRQn, 0, 0);
  HAL_NVIC_EnableIRQ(EXTI15_10_IRQn);

}

/* USER CODE BEGIN 4 */
void app_pin_irq_handler(uint8_t channel, bsp_pin_irq_evt_t evt)
{
#ifdef DEBUG
	printf("Pin Interrupt-> Channel:%d, Event:%d\n", channel, evt);
#endif
}

void HAL_TIM_PeriodElapsedCallback(TIM_HandleTypeDef * htim)
{
	// TIM7 is the scheduler timer that runs at 1 kHz
	// Process the scheduler queue
	if(htim == &htim7) scheduler_update();
}

static void blink_led(void * handle)
{
	static bool led_on = false;

	BSP_set_fault_led(led_on ? HIGH : LOW);

	led_on = !led_on;
}

/* USER CODE END 4 */

void Error_Handler(void)
{
}

/************************ (C) COPYRIGHT STMicroelectronics *****END OF FILE****/
